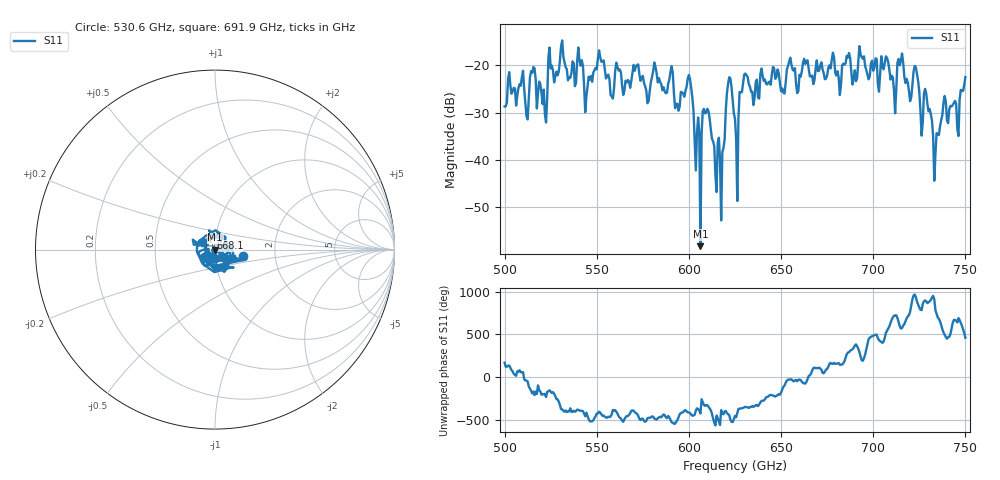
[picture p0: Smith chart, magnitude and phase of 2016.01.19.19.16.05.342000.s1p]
!Created with skrf (http://scikit-rf.org).
# GHz S RI R 50.0
!freq ReS11 ImS11
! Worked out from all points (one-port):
!   401 points, 500 GHz to 750 GHz, reference 50 ohm
!   lowest |S11| = -58.2 dB at 606.2 GHz (marker M1), VSWR 1.00, Z = 50 - j0.112 ohm
!   |S11| at or under -10 dB: start of sweep to end of sweep
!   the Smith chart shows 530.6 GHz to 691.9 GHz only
!   S11 on the Smith chart (normalised r, x): 530.6 GHz: 1.36, -0.10; 668.1 GHz: 0.94, +0.12; 691.9 GHz: 1.21, -0.12
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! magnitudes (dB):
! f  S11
! 500 GHz  -28.7
! 511.9 GHz  -30.8
! 515 GHz  -21.6
! 521.9 GHz  -30.4
! 525 GHz  -20.7
! 530.6 GHz  -16.0
! 531.2 GHz  -14.8
! 544.4 GHz  -26.6
! 551.9 GHz  -18.3
! 562.5 GHz  -20.9
! 590 GHz  -21.4
! 593.8 GHz  -28.1
! 600 GHz  -22.1
! 605 GHz  -31.0
! 606.2 GHz  -58.2
! 609.4 GHz  -30.0
! 618.1 GHz  -38.4
! 621.9 GHz  -22.5
! 625 GHz  -31.3
! 630.6 GHz  -21.8
! 656.2 GHz  -20.9
! 668.1 GHz  -23.1
! 687.5 GHz  -18.5
! 691.9 GHz  -19.4
! 718.8 GHz  -23.7
! 723.1 GHz  -20.4
! 733.8 GHz  -38.8
! 750 GHz  -22.5
